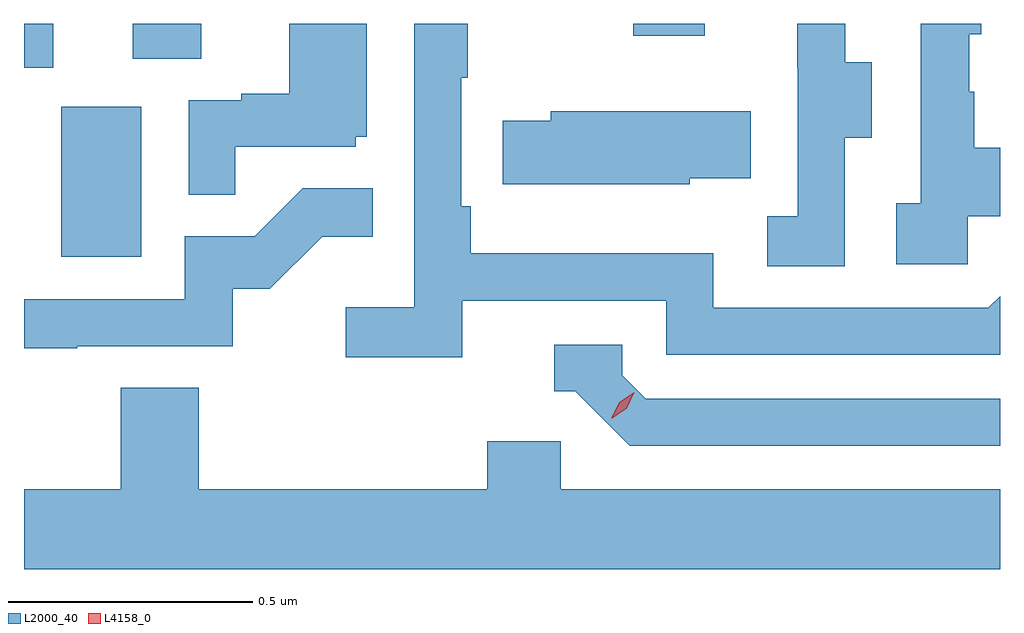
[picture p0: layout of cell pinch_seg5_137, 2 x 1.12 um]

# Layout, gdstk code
import gdstk
lib = gdstk.Library(unit=1e-6, precision=1e-09)
def R(c, l, rs):  # rectangles x0, y0, x1, y1
    for r in rs: c.add(gdstk.rectangle(r[:2], r[2:], *l))
def P(c, l, *ps):  # polygons
    for p in ps: c.add(gdstk.Polygon(p, *l))
L2000_40 = (2000, 40)
L4158_0 = (4158, 0)

pinch_seg5_137 = lib.new_cell('pinch_seg5_137')
R(pinch_seg5_137, L2000_40, [(1055.096,890.7,1055.26,891.007), (1055.02,891.087,1055.08,891.177), (1055.243,891.106,1055.383,891.177), (1056.268,891.153,1056.415,891.177)])
P(pinch_seg5_137, L2000_40, [(1056.954,890.783),(1057.02,890.783),(1057.02,890.923),(1056.967,890.923),(1056.967,891.038),(1056.957,891.038),(1056.957,891.156),(1056.982,891.156),(1056.982,891.177),(1056.858,891.177),(1056.858,890.81),(1056.807,890.81),(1056.807,890.685),(1056.954,890.685)],
  [(1055.453,890.925),(1055.7,890.925),(1055.7,890.946),(1055.722,890.946),(1055.722,891.177),(1055.564,891.177),(1055.564,891.034),(1055.465,891.034),(1055.465,891.021),(1055.358,891.021),(1055.358,890.827),(1055.453,890.827)],
  [(1056.702,890.944),(1056.757,890.944),(1056.757,891.099),(1056.703,891.099),(1056.703,891.177),(1056.605,891.177),(1056.605,891.087),(1056.606,891.087),(1056.606,890.783),(1056.543,890.783),(1056.543,890.68),(1056.702,890.68)],
  [(1055.918,890.61),(1056.336,890.61),(1056.336,890.499),(1057.02,890.499),(1057.02,890.619),(1056.996,890.595),(1056.432,890.595),(1056.432,890.707),(1055.935,890.707),(1055.935,890.803),(1055.916,890.803),(1055.916,891.067),(1055.929,891.067),(1055.929,891.177),(1055.82,891.177),(1055.82,890.596),(1055.679,890.596),(1055.679,890.494),(1055.918,890.494)],
  [(1056.384,890.861),(1056.509,890.861),(1056.509,890.998),(1056.099,890.998),(1056.099,890.979),(1056.001,890.979),(1056.001,890.849),(1056.384,890.849)],
  [(1055.129,890.517),(1055.448,890.517),(1055.448,890.634),(1055.524,890.634),(1055.631,890.741),(1055.735,890.741),(1055.735,890.84),(1055.591,890.84),(1055.493,890.742),(1055.349,890.742),(1055.349,890.613),(1055.02,890.613),(1055.02,890.512),(1055.129,890.512)],
  [(1057.02,890.409),(1056.294,890.409),(1056.246,890.457),(1056.246,890.52),(1056.107,890.52),(1056.107,890.424),(1056.15,890.424),(1056.261,890.313),(1057.02,890.313)],
  [(1057.02,890.224),(1056.12,890.224),(1056.12,890.322),(1055.969,890.322),(1055.969,890.224),(1055.378,890.224),(1055.378,890.432),(1055.218,890.432),(1055.218,890.224),(1055.02,890.224),(1055.02,890.06),(1057.02,890.06)])
P(pinch_seg5_137, L4158_0, [(1056.224,890.369),(1056.224,890.37),(1056.24,890.402),(1056.27,890.422),(1056.271,890.422),(1056.271,890.422),(1056.255,890.389),(1056.225,890.369)])

lib.write_gds('pinch_seg5_137.gds')
